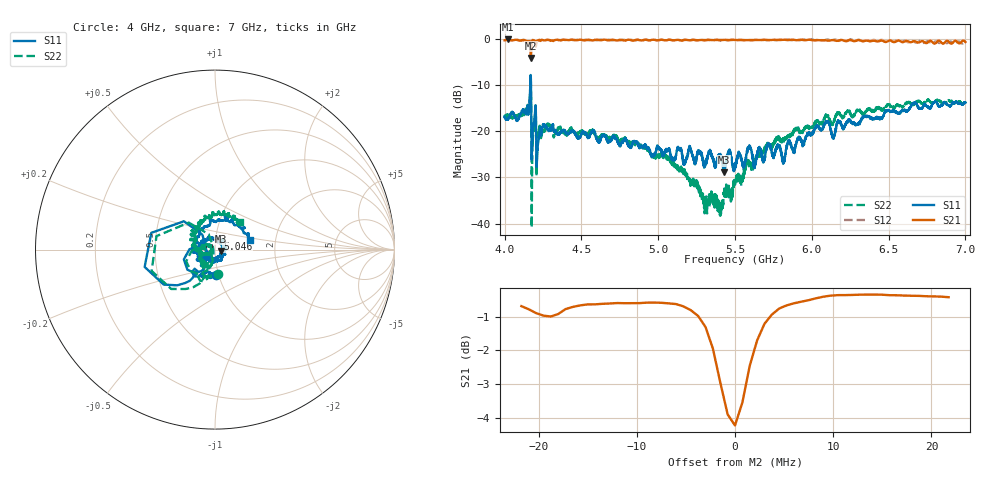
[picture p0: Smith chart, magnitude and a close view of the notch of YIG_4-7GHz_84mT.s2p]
#  HZ  S  RI  R  50.0
! Rohde & Schwarz ZVL13 2Ports - Version 3.31 - 1303.6509k13 SN: 101088
! Date: 2023-03-06 14:59:32
! Data & Calibration Information:
! Trc4:S11(TOSM) Trc2:S21(TOSM) Trc3:S12(TOSM) Trc5:S22(TOSM)
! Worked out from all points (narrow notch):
!   4000 points, 4 GHz to 7 GHz, reference 50 ohm
!   highest |S21| = -0.21 dB at 4.02 GHz (marker M1); lowest = -4.2 dB at 4.171 GHz (marker M2)
!   notch at M2: 3.9 dB deep, 3.66 MHz wide at half that depth
!   lowest |S11| = -28.9 dB at 5.428 GHz (marker M3), VSWR 1.07, Z = 53.6 - j0.838 ohm
!   |S11| at or under -10 dB: start of sweep to 4.167 GHz; 4.172 GHz to end of sweep
!   |S22| runs from -40.8 to -8.6 dB; largest |S21 - S12| = 0.076
!   S11 on the Smith chart (normalised r, x): 4 GHz: 0.97, -0.28; 5.046 GHz: 1.02, +0.12; 7 GHz: 1.47, +0.17
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4e9  0.0029 -0.1433  -0.9046 -0.3129  -0.9096 -0.2902  0.0153 -0.1373
4.019505e9  -0.0222 -0.132  -0.9383 -0.2708  -0.9303 -0.2736  0.0109 -0.1486
4.157539e9  -0.1078 -0.1364  -0.9299 0.0541  -0.9211 0.0697  -0.0655 -0.1597
4.171043e9  -0.3548 0.0934  -0.6145 0.00908  -0.6201 0.0139  -0.3261 0.0751
4.220555e9  -0.0503 -0.0604  -0.9523 0.1165  -0.948 0.117  -0.0283 -0.0922
4.259565e9  -0.073 -0.0903  -0.9303 0.221  -0.9297 0.2211  -0.0467 -0.0865
4.500375e9  -0.092 -0.00701  -0.6733 0.6951  -0.6677 0.6837  -0.0714 -0.0622
4.773443e9  -0.0541 0.0561  -0.1437 0.9434  -0.1487 0.9585  -0.0778 0.000713
5e9  0.00399 0.0668  0.3195 0.9017  0.3218 0.8907  -0.0466 0.0264
5.045761e9  0.0132 0.0584  0.4162 0.8602  0.4197 0.8504  -0.0484 0.0228
5.306827e9  0.0449 0.00769  0.8312 0.4813  0.8175 0.4823  -0.0178 0.00699
5.428357e9  0.0349 -0.00781  0.9332 0.2491  0.943 0.2501  -0.0197 -0.00011
5.460615e9  0.0533 -0.0291  0.9463 0.1767  0.9328 0.1844  -0.019 -0.00302
5.500375e9  0.0308 -0.0329  0.9607 0.0883  0.949 0.0821  -0.0224 -0.014
5.591898e9  0.0337 -0.0612  0.957 -0.106  0.958 -0.1214  -0.0361 -0.029
5.736684e9  -0.000806 -0.0622  0.872 -0.4103  0.8825 -0.4107  -0.0657 -0.0248
5.815454e9  -0.0252 -0.0383  0.7862 -0.5683  0.776 -0.5659  -0.0766 -0.0251
6e9  -0.0906 -0.0112  0.4605 -0.8424  0.473 -0.8624  -0.1102 0.0165
6.254314e9  -0.1077 0.0668  -0.0973 -0.9553  -0.0996 -0.9788  -0.1136 0.0963
6.500375e9  -0.0214 0.1669  -0.5805 -0.7477  -0.5974 -0.7484  -0.0555 0.1841
6.773443e9  0.1151 0.134  -0.9123 -0.2475  -0.8736 -0.2099  0.0467 0.1995
7e9  0.1951 0.0555  -0.8844 0.2426  -0.9038 0.2144  0.1364 0.1496
